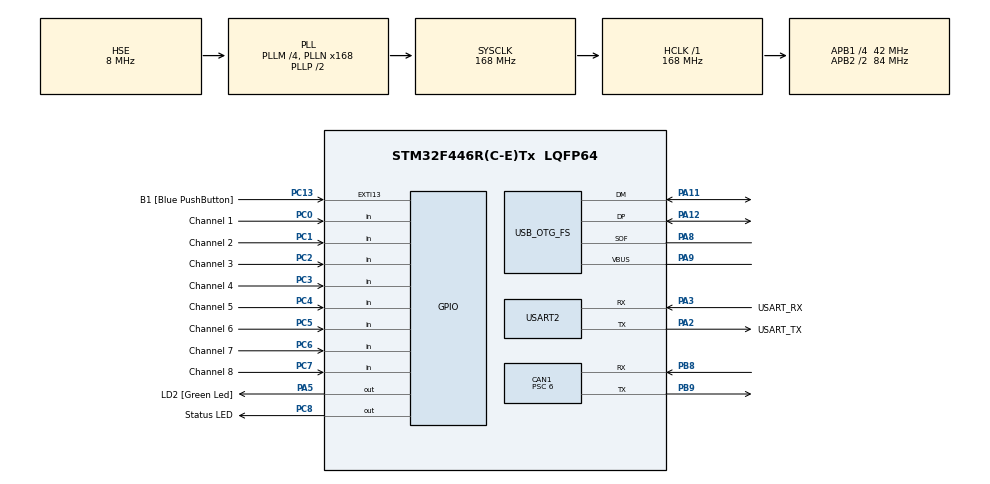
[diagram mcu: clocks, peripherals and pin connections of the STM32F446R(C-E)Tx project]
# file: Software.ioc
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CAN1.ABOM=ENABLE
CAN1.BS1=CAN_BS1_11TQ
CAN1.BS2=CAN_BS2_2TQ
CAN1.CalculateBaudRate=500000
CAN1.CalculateTimeBit=2000
CAN1.CalculateTimeQuantum=142.85714285714286
CAN1.NART=DISABLE
CAN1.Prescaler=6
Dma.Request0=TIM1_UP
Dma.TIM1_UP.0.Direction=DMA_PERIPH_TO_MEMORY
Dma.TIM1_UP.0.FIFOMode=DMA_FIFOMODE_DISABLE
Dma.TIM1_UP.0.Instance=DMA2_Stream5
Dma.TIM1_UP.0.MemDataAlignment=DMA_MDATAALIGN_BYTE
Dma.TIM1_UP.0.MemInc=DMA_MINC_ENABLE
Dma.TIM1_UP.0.Mode=DMA_CIRCULAR
Dma.TIM1_UP.0.PeriphDataAlignment=DMA_PDATAALIGN_BYTE
Dma.TIM1_UP.0.PeriphInc=DMA_PINC_DISABLE
Dma.TIM1_UP.0.Priority=DMA_PRIORITY_HIGH
Mcu.Family=STM32F4
Mcu.Name=STM32F446R(C-E)Tx
Mcu.Package=LQFP64
NVIC.CAN1_RX0_IRQn=true\:0\:0\:false\:false\:true\:true\:true\:true
NVIC.DMA2_Stream5_IRQn=true\:0\:0\:true\:false\:true\:false\:true\:true
NVIC.OTG_FS_IRQn=true\:1\:0\:true\:false\:true\:false\:true\:true
NVIC.PriorityGroup=NVIC_PRIORITYGROUP_4
NVIC.TIM1_UP_TIM10_IRQn=true\:0\:0\:true\:false\:true\:true\:true\:true
PA11.Mode=Device_Only
PA11.Signal=USB_OTG_FS_DM
PA12.Mode=Device_Only
PA12.Signal=USB_OTG_FS_DP
PA13.GPIO_Label=TMS
PA13.Mode=Serial_Wire
PA13.Signal=SYS_JTMS-SWDIO
PA14.GPIO_Label=TCK
PA14.Mode=Serial_Wire
PA14.Signal=SYS_JTCK-SWCLK
PA2.GPIO_Label=USART_TX
PA2.Mode=Asynchronous
PA2.Signal=USART2_TX
PA3.GPIO_Label=USART_RX
PA3.Mode=Asynchronous
PA3.Signal=USART2_RX
PA5.GPIO_Label=LD2 [Green Led]
PA5.Signal=GPIO_Output
PA8.Mode=Activate_SOF_FS
PA8.Signal=USB_OTG_FS_SOF
PA9.Mode=Activate_VBUS
PA9.Signal=USB_OTG_FS_VBUS
PB3.GPIO_Label=SWO
PB3.Signal=SYS_JTDO-SWO
PB8.Mode=CAN_Activate
PB8.Signal=CAN1_RX
PB9.Mode=CAN_Activate
PB9.Signal=CAN1_TX
PC0.GPIO_Label=Channel 1
PC0.GPIO_PuPd=GPIO_PULLDOWN
PC0.Signal=GPIO_Input
PC1.GPIO_Label=Channel 2
PC1.GPIO_PuPd=GPIO_PULLDOWN
PC1.Signal=GPIO_Input
PC13.GPIO_Label=B1 [Blue PushButton]
PC13.GPIO_ModeDefaultEXTI=GPIO_MODE_IT_FALLING
PC13.Signal=GPXTI13
PC14-OSC32_IN.Mode=LSE-External-Oscillator
PC14-OSC32_IN.Signal=RCC_OSC32_IN
PC15-OSC32_OUT.Mode=LSE-External-Oscillator
PC15-OSC32_OUT.Signal=RCC_OSC32_OUT
PC2.GPIO_Label=Channel 3
PC2.GPIO_PuPd=GPIO_PULLDOWN
PC2.Signal=GPIO_Input
PC3.GPIO_Label=Channel 4
PC3.GPIO_PuPd=GPIO_PULLDOWN
PC3.Signal=GPIO_Input
PC4.GPIO_Label=Channel 5
PC4.GPIO_PuPd=GPIO_PULLDOWN
PC4.Signal=GPIO_Input
PC5.GPIO_Label=Channel 6
PC5.GPIO_PuPd=GPIO_PULLDOWN
PC5.Signal=GPIO_Input
PC6.GPIO_Label=Channel 7
PC6.GPIO_PuPd=GPIO_PULLDOWN
PC6.Signal=GPIO_Input
PC7.GPIO_Label=Channel 8
PC7.GPIO_PuPd=GPIO_PULLDOWN
PC7.Signal=GPIO_Input
PC8.GPIO_Label=Status LED
PC8.Signal=GPIO_Output
PH0-OSC_IN.Mode=HSE-External-Oscillator
PH0-OSC_IN.Signal=RCC_OSC_IN
PH1-OSC_OUT.Mode=HSE-External-Oscillator
PH1-OSC_OUT.Signal=RCC_OSC_OUT
ProjectManager.HeapSize=0x200
ProjectManager.StackSize=0x400
ProjectManager.TargetToolchain=STM32CubeIDE
RCC.48MHZClocksFreq_Value=84000000
RCC.AHBFreq_Value=168000000
RCC.APB1CLKDivider=RCC_HCLK_DIV4
RCC.APB1Freq_Value=42000000
RCC.APB1TimFreq_Value=84000000
RCC.APB2CLKDivider=RCC_HCLK_DIV2
RCC.APB2Freq_Value=84000000
RCC.APB2TimFreq_Value=168000000
RCC.CortexFreq_Value=168000000
RCC.FLatency-AdvancedSettings=FLASH_LATENCY_5
RCC.HCLKFreq_Value=168000000
RCC.HSE_VALUE=8000000
RCC.HSI_VALUE=16000000
RCC.PLLM=4
RCC.PLLN=168
RCC.PLLQ=7
RCC.SYSCLKFreq_VALUE=168000000
RCC.SYSCLKSource=RCC_SYSCLKSOURCE_PLLCLK
RCC.USBFreq_Value=48000000
RCC.VCOOutputFreq_Value=336000000
TIM1.AutoReloadPreload=TIM_AUTORELOAD_PRELOAD_ENABLE
TIM1.Period=167
TIM1.Prescaler=0
TIM1.TIM_MasterOutputTrigger=TIM_TRGO_UPDATE
USART2.VirtualMode=VM_ASYNC
USB_DEVICE.APP_RX_DATA_SIZE-CDC_FS=2048
USB_DEVICE.APP_TX_DATA_SIZE-CDC_FS=2048
USB_DEVICE.CLASS_NAME_FS=CDC
USB_DEVICE.VirtualMode-CDC_FS=Cdc
USB_DEVICE.VirtualModeFS=Cdc_FS
USB_OTG_FS.VirtualMode=Device_Only
VP_TIM1_VS_ClockSourceINT.Mode=Internal
VP_USB_DEVICE_VS_USB_DEVICE_CDC_FS.Mode=CDC_FS
board=NUCLEO-F446RE

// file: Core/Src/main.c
/* USER CODE BEGIN Header */
/**
  ******************************************************************************
  * @file           : main.c
  * @brief          : Main program body
  ******************************************************************************
  * @attention
  *
  * Copyright (c) 2026 STMicroelectronics.
  * All rights reserved.
  *
  * This software is licensed under terms that can be found in the LICENSE file
  * in the root directory of this software component.
  * If no LICENSE file comes with this software, it is provided AS-IS.
  *
  ******************************************************************************
  */
/* USER CODE END Header */
#include "main.h"
#include "usb_device.h"

/* USER CODE BEGIN Includes */
#include "usbd_cdc_if.h"
#include <string.h>
/* USER CODE END Includes */

CAN_HandleTypeDef hcan1;

TIM_HandleTypeDef htim1;
DMA_HandleTypeDef hdma_tim1_up;

UART_HandleTypeDef huart2;

/* USER CODE BEGIN PV */
#define DATA_CHUNK 512
#define DMA_BUF_SIZE (DATA_CHUNK*2) // 1024 bytes

//The DMA will dump the GPIO samples here
//I'm using the ping-pong idea we talked about but with the circular array
//So we have one array of 1024 uint8_t elements holding 2 chunks of 512 samples
//Each sample is 1 byte capturing PC0-PC7 (all 8 channels fit into low byte)

//Basically, when the USB is transmitting, new samples still need somewhere to go
//So the idea is, when the DMA is half full, the USB can transmit samples
//from position 0 while new samples get written to position 512 and onward.
uint8_t dma_buf[DMA_BUF_SIZE];
static uint8_t logic_seq_num = 0;
static uint8_t can_seq_num = 0;
volatile uint8_t send_first_half = 0;
volatile uint8_t send_second_half = 0;
/* USER CODE END PV */

void SystemClock_Config(void);
static void MX_GPIO_Init(void);
static void MX_DMA_Init(void);
static void MX_TIM1_Init(void);
static void MX_USART2_UART_Init(void);
static void MX_CAN1_Init(void);
/* USER CODE BEGIN PFP */
void send_logic_packet(uint8_t *data_ptr);
void myHalfCallback(DMA_HandleTypeDef *hdma);
void myCpltCallback(DMA_HandleTypeDef *hdma);
/* USER CODE END PFP */

int main(void)
{

  /* MCU Configuration--------------------------------------------------------*/

  /* Reset of all peripherals, Initializes the Flash interface and the Systick. */
  HAL_Init();

  /* Configure the system clock */
  SystemClock_Config();

  /* Initialize all configured peripherals */
  MX_GPIO_Init();
  MX_DMA_Init();
  MX_TIM1_Init();
  MX_USART2_UART_Init();
  MX_USB_DEVICE_Init();
  MX_CAN1_Init();
  /* USER CODE BEGIN 2 */
  // We'll use the bxCAN peripheral for CAN
  // The thing is tho, it rejects everything by default.
  // So the filter below lets it know which data to let in
  //printf("Hello World"); debug statement
  CAN_FilterTypeDef canFilter;

  canFilter.FilterBank = 0; //Bank 0
  canFilter.FilterMode = CAN_FILTERMODE_IDMASK;
  canFilter.FilterScale = CAN_FILTERSCALE_32BIT;
  canFilter.FilterIdHigh = 0x0000;
  canFilter.FilterIdLow = 0x0000;
  canFilter.FilterMaskIdHigh = 0x0000;
  canFilter.FilterMaskIdLow = 0x0000;
  canFilter.FilterFIFOAssignment = CAN_RX_FIFO0;
  canFilter.FilterActivation = ENABLE;

  if (HAL_CAN_ConfigFilter(&hcan1, &canFilter) != HAL_OK)
  {
    Error_Handler();
  }

  HAL_CAN_Start(&hcan1);

  //Fires an RX interrupt when a frame arrives in the receive FIFO
  HAL_CAN_ActivateNotification(&hcan1, CAN_IT_RX_FIFO0_MSG_PENDING);

  //To let the USB breathe
  HAL_Delay(1000);
  //Start TIM1 - 1MHz for DMA sampling
  HAL_TIM_Base_Start(&htim1);

  hdma_tim1_up.XferHalfCpltCallback = myHalfCallback;
  hdma_tim1_up.XferCpltCallback = myCpltCallback;
  //Start DMA - reads the GPIOC -> IDR into dma_buf on every TIM1 tick, so 1us
  HAL_DMA_Start_IT(&hdma_tim1_up, (uint32_t)&GPIOC->IDR,
		          (uint32_t)dma_buf, DMA_BUF_SIZE);

  //Enable the DMA request on TIM1 update event
  TIM1-> DIER |= TIM_DIER_UDE;
  /* USER CODE END 2 */

  /* Infinite loop */
  /* USER CODE BEGIN WHILE */
  while (1)
  {
	  	/* Testing Code
	    // Toggle the Green LED (PA5) so we have a signal to "sniff"
	    HAL_GPIO_TogglePin(GPIOA, GPIO_PIN_5);

	    // Create and send a test CAN message to ourselves
	    CAN_TxHeaderTypeDef txHeader;
	    uint8_t testData[] = {0xDE, 0xAD, 0xBE, 0xEF, 0xCA, 0xFE, 0xBA, 0xBE};
	    uint32_t txMailbox;

	    txHeader.StdId = 0x123;
	    txHeader.RTR = CAN_RTR_DATA;
	    txHeader.IDE = CAN_ID_STD;
	    txHeader.DLC = 8;

	    HAL_CAN_AddTxMessage(&hcan1, &txHeader, testData, &txMailbox);

	    // Wait half a second
	    HAL_Delay(2000);
		*/
	  if (send_first_half)
	  {
		  send_first_half = 0;
		  send_logic_packet(&dma_buf[0]);
	  }
	  if (send_second_half)
	  {
		  send_second_half = 0;
		  send_logic_packet(&dma_buf[DATA_CHUNK]);
	  }
    /* USER CODE END WHILE */

  }
}

void SystemClock_Config(void)
{
  RCC_OscInitTypeDef RCC_OscInitStruct = {0};
  RCC_ClkInitTypeDef RCC_ClkInitStruct = {0};

  /** Configure the main internal regulator output voltage
  */
  __HAL_RCC_PWR_CLK_ENABLE();
  __HAL_PWR_VOLTAGESCALING_CONFIG(PWR_REGULATOR_VOLTAGE_SCALE1);

  /** Initializes the RCC Oscillators according to the specified parameters
  * in the RCC_OscInitTypeDef structure.
  */
  RCC_OscInitStruct.OscillatorType = RCC_OSCILLATORTYPE_HSE;
  RCC_OscInitStruct.HSEState = RCC_HSE_ON;
  RCC_OscInitStruct.PLL.PLLState = RCC_PLL_ON;
  RCC_OscInitStruct.PLL.PLLSource = RCC_PLLSOURCE_HSE;
  RCC_OscInitStruct.PLL.PLLM = 4;
  RCC_OscInitStruct.PLL.PLLN = 168;
  RCC_OscInitStruct.PLL.PLLP = RCC_PLLP_DIV2;
  RCC_OscInitStruct.PLL.PLLQ = 7;
  RCC_OscInitStruct.PLL.PLLR = 2;
  if (HAL_RCC_OscConfig(&RCC_OscInitStruct) != HAL_OK)
  {
    Error_Handler();
  }

  /** Initializes the CPU, AHB and APB buses clocks
  */
  RCC_ClkInitStruct.ClockType = RCC_CLOCKTYPE_HCLK|RCC_CLOCKTYPE_SYSCLK
                              |RCC_CLOCKTYPE_PCLK1|RCC_CLOCKTYPE_PCLK2;
  RCC_ClkInitStruct.SYSCLKSource = RCC_SYSCLKSOURCE_PLLCLK;
  RCC_ClkInitStruct.AHBCLKDivider = RCC_SYSCLK_DIV1;
  RCC_ClkInitStruct.APB1CLKDivider = RCC_HCLK_DIV4;
  RCC_ClkInitStruct.APB2CLKDivider = RCC_HCLK_DIV2;

  if (HAL_RCC_ClockConfig(&RCC_ClkInitStruct, FLASH_LATENCY_5) != HAL_OK)
  {
    Error_Handler();
  }
}

static void MX_CAN1_Init(void)
{

  hcan1.Instance = CAN1;
  hcan1.Init.Prescaler = 6;
  hcan1.Init.Mode = CAN_MODE_NORMAL;
  hcan1.Init.SyncJumpWidth = CAN_SJW_1TQ;
  hcan1.Init.TimeSeg1 = CAN_BS1_11TQ;
  hcan1.Init.TimeSeg2 = CAN_BS2_2TQ;
  hcan1.Init.TimeTriggeredMode = DISABLE;
  hcan1.Init.AutoBusOff = ENABLE;
  hcan1.Init.AutoWakeUp = DISABLE;
  hcan1.Init.AutoRetransmission = DISABLE;
  hcan1.Init.ReceiveFifoLocked = DISABLE;
  hcan1.Init.TransmitFifoPriority = DISABLE;
  if (HAL_CAN_Init(&hcan1) != HAL_OK)
  {
    Error_Handler();
  }

}

static void MX_TIM1_Init(void)
{

  TIM_ClockConfigTypeDef sClockSourceConfig = {0};
  TIM_MasterConfigTypeDef sMasterConfig = {0};

  htim1.Instance = TIM1;
  htim1.Init.Prescaler = 99;
  htim1.Init.CounterMode = TIM_COUNTERMODE_UP;
  htim1.Init.Period = 167;
  htim1.Init.ClockDivision = TIM_CLOCKDIVISION_DIV1;
  htim1.Init.RepetitionCounter = 0;
  htim1.Init.AutoReloadPreload = TIM_AUTORELOAD_PRELOAD_ENABLE;
  if (HAL_TIM_Base_Init(&htim1) != HAL_OK)
  {
    Error_Handler();
  }
  sClockSourceConfig.ClockSource = TIM_CLOCKSOURCE_INTERNAL;
  if (HAL_TIM_ConfigClockSource(&htim1, &sClockSourceConfig) != HAL_OK)
  {
    Error_Handler();
  }
  sMasterConfig.MasterOutputTrigger = TIM_TRGO_UPDATE;
  sMasterConfig.MasterSlaveMode = TIM_MASTERSLAVEMODE_DISABLE;
  if (HAL_TIMEx_MasterConfigSynchronization(&htim1, &sMasterConfig) != HAL_OK)
  {
    Error_Handler();
  }

}

static void MX_USART2_UART_Init(void)
{

  huart2.Instance = USART2;
  huart2.Init.BaudRate = 115200;
  huart2.Init.WordLength = UART_WORDLENGTH_8B;
  huart2.Init.StopBits = UART_STOPBITS_1;
  huart2.Init.Parity = UART_PARITY_NONE;
  huart2.Init.Mode = UART_MODE_TX_RX;
  huart2.Init.HwFlowCtl = UART_HWCONTROL_NONE;
  huart2.Init.OverSampling = UART_OVERSAMPLING_16;
  if (HAL_UART_Init(&huart2) != HAL_OK)
  {
    Error_Handler();
  }

}

static void MX_DMA_Init(void)
{

  /* DMA controller clock enable */
  __HAL_RCC_DMA2_CLK_ENABLE();

  /* DMA interrupt init */
  /* DMA2_Stream5_IRQn interrupt configuration */
  HAL_NVIC_SetPriority(DMA2_Stream5_IRQn, 0, 0);
  HAL_NVIC_EnableIRQ(DMA2_Stream5_IRQn);

}

static void MX_GPIO_Init(void)
{
  GPIO_InitTypeDef GPIO_InitStruct = {0};

  /* GPIO Ports Clock Enable */
  __HAL_RCC_GPIOC_CLK_ENABLE();
  __HAL_RCC_GPIOH_CLK_ENABLE();
  __HAL_RCC_GPIOA_CLK_ENABLE();
  __HAL_RCC_GPIOB_CLK_ENABLE();

  /*Configure GPIO pin Output Level */
  HAL_GPIO_WritePin(LD2_GPIO_Port, LD2_Pin, GPIO_PIN_RESET);

  /*Configure GPIO pin Output Level */
  HAL_GPIO_WritePin(Status_LED_GPIO_Port, Status_LED_Pin, GPIO_PIN_RESET);

  /*Configure GPIO pin : B1_Pin */
  GPIO_InitStruct.Pin = B1_Pin;
  GPIO_InitStruct.Mode = GPIO_MODE_IT_FALLING;
  GPIO_InitStruct.Pull = GPIO_NOPULL;
  HAL_GPIO_Init(B1_GPIO_Port, &GPIO_InitStruct);

  /*Configure GPIO pins : Channel_1_Pin Channel_2_Pin Channel_3_Pin Channel_4_Pin
                           Channel_5_Pin Channel_6_Pin Channel_7_Pin Channel_8_Pin */
  GPIO_InitStruct.Pin = Channel_1_Pin|Channel_2_Pin|Channel_3_Pin|Channel_4_Pin
                          |Channel_5_Pin|Channel_6_Pin|Channel_7_Pin|Channel_8_Pin;
  GPIO_InitStruct.Mode = GPIO_MODE_INPUT;
  GPIO_InitStruct.Pull = GPIO_PULLDOWN;
  HAL_GPIO_Init(GPIOC, &GPIO_InitStruct);

  /*Configure GPIO pin : LD2_Pin */
  GPIO_InitStruct.Pin = LD2_Pin;
  GPIO_InitStruct.Mode = GPIO_MODE_OUTPUT_PP;
  GPIO_InitStruct.Pull = GPIO_NOPULL;
  GPIO_InitStruct.Speed = GPIO_SPEED_FREQ_LOW;
  HAL_GPIO_Init(LD2_GPIO_Port, &GPIO_InitStruct);

  /*Configure GPIO pin : Status_LED_Pin */
  GPIO_InitStruct.Pin = Status_LED_Pin;
  GPIO_InitStruct.Mode = GPIO_MODE_OUTPUT_PP;
  GPIO_InitStruct.Pull = GPIO_NOPULL;
  GPIO_InitStruct.Speed = GPIO_SPEED_FREQ_LOW;
  HAL_GPIO_Init(Status_LED_GPIO_Port, &GPIO_InitStruct);

}

/* USER CODE BEGIN 4 */

//For sending words over UART
//int __io_putchar(int ch) {
//  HAL_UART_Transmit(&huart2, (uint8_t *)&ch, 1, 0xFFFF);
//  return ch;
//}

// Fires when DMA has filled the buffer with 512 samples (512 bytes)
// Sends the raw samples over USB to PC where our Go and Python apps will take over
// CDC_Transmit_FS handles splitting into 64 byte USB transactions internally
// We just pass the full 516 byte packet and the USB stack takes care of it
// Format: [0xAA][0xBB][seq#][512 uint8 samples=512 bytes][checksum]
void send_logic_packet(uint8_t *data_ptr)
{
	//made this static so it persists during USB transfer
	static uint8_t packet[516]; // 3 header + 512 data + 1 checksum
	packet[0] = 0xAA;
	packet[1] = 0xBB;
	packet[2] = logic_seq_num++;

	//I found that memcpy works much faster than a typical for loop
	//it's optimized at the hardware level
	memcpy(&packet[3], data_ptr, DATA_CHUNK);

    uint8_t checksum = 0;
	for (int i = 0; i < 515; i++) {
		checksum ^= packet[i];
	}
	packet[515] = checksum;

	//Monitor for overflows here!
	if (HAL_UART_Transmit(&huart2, packet, 516, 100)!= HAL_OK)
	{
		//This means that the PC isn't reading fast enough
	    static uint32_t dropped_packets = 0;
	    dropped_packets++;
	}
}
//void HAL_DMA_XferHalfCpltCallback(DMA_HandleTypeDef *hdma) {
//    if (hdma == &hdma_tim1_up) {
//    	send_logic_packet(&dma_buf[0]);
//    }
//}
//
//void HAL_DMA_XferCpltCallback(DMA_HandleTypeDef *hdma) {
//    if (hdma == &hdma_tim1_up) {
//    	send_logic_packet(&dma_buf[DATA_CHUNK]);
//    }
//}

void myHalfCallback(DMA_HandleTypeDef *hdma) {
    HAL_GPIO_TogglePin(GPIOA, GPIO_PIN_5);
    send_first_half = 1;
}

void myCpltCallback(DMA_HandleTypeDef *hdma) {
    send_second_half = 1;
}

// Fires when a complete CAN frame arrives in the bxCAN receive FIFO
// Packages decoded frame and sends over USB
// Format: [0xCC][0xDD][seq#][ID_HIGH][ID_LOW][DLC][data][checksum]
void HAL_CAN_RxFifo0MsgPendingCallback(CAN_HandleTypeDef *hcan) {
    CAN_RxHeaderTypeDef rxHeader;
    uint8_t rxData[8];

    if (HAL_CAN_GetRxMessage(hcan, CAN_RX_FIFO0, &rxHeader, rxData) == HAL_OK) {

        // CAN packet uses different header so Go or C/C++ can distinguish it
    	// We need to take this into acc for the Go or C/C++ program
    	// for ID_HIGH
    	// if the ID is like 0x123
    	// ID_HIGH would be 0x01 and ID_LOW will be 0x23
        static uint8_t packet[15];
        // CAN header byte 1
        packet[0] = 0xCC;

        // CAN header byte 2
        packet[1] = 0xDD;

        // sequence number
        packet[2] = can_seq_num++;

        // CAN ID high byte
        packet[3] = (rxHeader.StdId >> 8) & 0xFF;

        // CAN ID low byte
        packet[4] = rxHeader.StdId & 0xFF;

        // data length code - just how many data bytes are in the CAN frame
        packet[5] = rxHeader.DLC;

        for (int i = 0; i < rxHeader.DLC; i++) {
            packet[i+6] = rxData[i];
        }

        // Checksum over everything except checksum byte itself
        uint8_t checksum = 0;
        uint8_t packet_len_b4_checksum = 6 + rxHeader.DLC;
        for (int i = 0; i < packet_len_b4_checksum; i++) {
            checksum ^= packet[i];
        }

        //putting checksum right after last data byte
        packet[packet_len_b4_checksum] = checksum;

        //total bytes to send:
        //Headers(2) + Seq(1) + ID(2) + DLC(1) + Data(DLC) + checksum(1)
        // Total is 7 + DLC
        HAL_UART_Transmit(&huart2, packet, 7 + rxHeader.DLC, 100);
    }
}

/* USER CODE END 4 */

void Error_Handler(void)
{
  __disable_irq();
  while (1)
  {
  }
}
